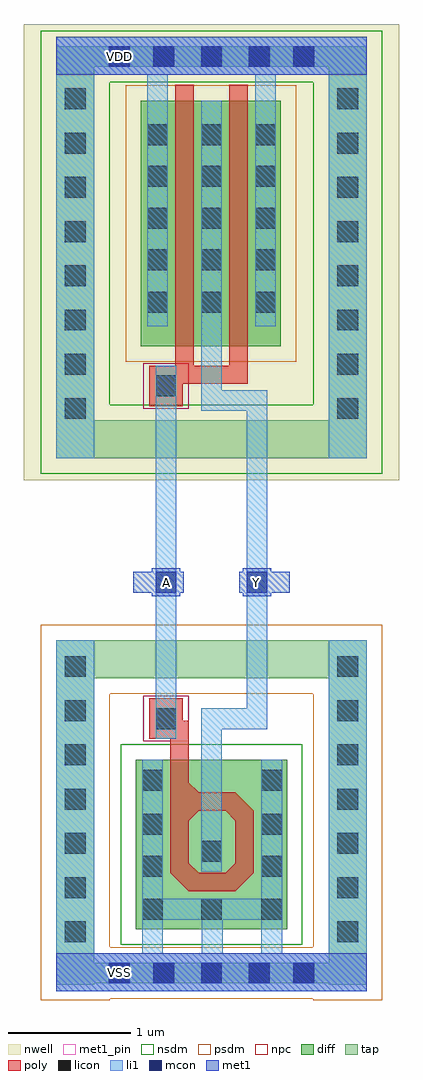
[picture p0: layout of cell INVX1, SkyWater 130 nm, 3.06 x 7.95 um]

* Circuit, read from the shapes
.subckt INVX1 A VDD VSS Y
XM1 VSS A Y VSS sky130_fd_pr__nfet_01v8 w=2.56 l=0.1489
XM2 Y A VDD VDD sky130_fd_pr__pfet_01v8 w=2 l=0.15 m=2
.ends

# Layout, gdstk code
import gdstk
lib = gdstk.Library(unit=1e-6, precision=1e-09)
def R(c, l, rs):  # rectangles x0, y0, x1, y1
    for r in rs: c.add(gdstk.rectangle(r[:2], r[2:], *l))
def A(c, l, x, y, w, h, nx, ny, dx, dy):  # array of equal rectangles
    R(c, l, [(x+i*dx, y+j*dy, x+i*dx+w, y+j*dy+h) for i in range(nx) for j in range(ny)])
def P(c, l, *ps):  # polygons
    for p in ps: c.add(gdstk.Polygon(p, *l))
nwell = (64, 20)
diff = (65, 20)
tap = (65, 44)
poly = (66, 20)
licon = (66, 44)
li1 = (67, 20)
mcon = (67, 44)
met1_pin = (68, 16)
met1 = (68, 20)
nsdm = (93, 44)
psdm = (94, 20)
npc = (95, 20)

invx1 = lib.new_cell('INVX1')
R(invx1, nwell, [(-0.42,4.16,2.64,7.875)])
R(invx1, diff, [(0.495,0.505,1.725,1.885), (0.535,5.25,1.675,7.25)])
R(invx1, tap, [(-0.155,0.055,0.155,0.065), (2.065,0.055,2.375,0.065), (-0.155,0.065,2.375,0.235), (-0.155,0.235,0.155,2.55), (2.065,0.235,2.375,2.55), (-0.155,2.55,2.375,2.86), (-0.155,4.34,2.375,4.65), (-0.155,4.65,0.155,7.525), (2.065,4.65,2.375,7.525), (-0.155,7.525,2.375,7.695)])
R(invx1, poly, [(0.925,0.815,1.305,0.965), (0.775,0.965,0.925,1.47), (1.305,0.965,1.455,1.47), (0.775,1.47,1.305,1.62), (0.775,1.62,0.925,2.055), (0.605,2.055,0.925,2.205), (0.605,2.205,0.875,2.385), (0.605,4.765,0.875,4.945), (0.605,4.945,1.405,5.095), (0.815,5.095,0.965,7.38), (1.255,5.095,1.405,7.38)])
P(invx1, poly, [(0.925,1.7),(0.925,1.62),(1.005,1.62)],
  [(1.305,1.62),(1.305,1.47),(1.455,1.47)],
  [(0.925,1.39),(0.925,1.47),(1.005,1.47)],
  [(1.225,1.47),(1.305,1.47),(1.305,1.39)],
  [(0.925,1.045),(0.925,0.965),(1.005,0.965)],
  [(1.225,0.965),(1.305,0.965),(1.305,1.045)],
  [(0.775,0.965),(0.925,0.965),(0.925,0.815)],
  [(1.305,0.815),(1.305,0.965),(1.455,0.965)])
A(invx1, licon, 0.635, 0.065, 0.17, 0.17, 3, 2, 0.39, 7.46)
A(invx1, licon, -0.085, 0.4, 0.17, 0.17, 1, 7, 0, 0.36)
A(invx1, licon, 2.135, 0.4, 0.17, 0.17, 1, 7, 0, 0.36)
A(invx1, licon, -0.085, 4.66, 0.17, 0.17, 1, 8, 0, 0.36)
A(invx1, licon, 2.135, 4.66, 0.17, 0.17, 1, 8, 0, 0.36)
A(invx1, licon, 0.585, 5.525, 0.17, 0.17, 3, 2, 0.44, 0.345)
A(invx1, licon, 0.585, 6.21, 0.17, 0.17, 3, 3, 0.44, 0.34)
R(invx1, licon, [(0.275,0.065,0.445,0.235), (1.775,0.065,1.945,0.235), (0.545,0.585,0.715,0.755), (1.025,0.585,1.195,0.755), (1.515,0.585,1.685,0.755), (0.545,0.935,0.715,1.105), (1.515,0.935,1.685,1.105), (1.025,1.055,1.195,1.225), (0.545,1.275,0.715,1.445), (1.515,1.275,1.685,1.445), (0.545,1.635,0.715,1.805), (1.515,1.635,1.685,1.805), (0.655,2.135,0.825,2.305), (0.655,4.845,0.825,5.015), (0.275,7.525,0.445,7.695), (1.775,7.525,1.945,7.695)])
A(invx1, li1, 0.545, 0.31, 0.17, 0.275, 3, 1, 0.485, 0)
R(invx1, li1, [(-0.155,0,2.375,0.31), (-0.155,0.31,0.155,2.86), (2.065,0.31,2.375,2.86), (0.545,0.585,1.685,0.755), (0.545,0.755,0.715,1.885), (1.515,0.755,1.685,1.885), (1.025,0.975,1.195,2.135), (0.655,2.055,0.825,5.095), (1.025,2.135,1.565,2.305), (1.395,2.305,1.565,4.725), (-0.155,4.34,0.155,7.46), (2.065,4.34,2.375,7.46), (1.025,4.725,1.565,4.895), (1.025,4.895,1.195,7.25), (0.585,5.415,0.755,7.46), (1.465,5.415,1.635,7.46), (-0.155,7.46,2.375,7.77)])
A(invx1, mcon, 0.635, 0.065, 0.17, 0.17, 3, 2, 0.39, 7.46)
R(invx1, mcon, [(0.275,0.065,0.445,0.235), (1.775,0.065,1.945,0.235), (0.655,3.245,0.825,3.415), (1.395,3.245,1.565,3.415), (0.275,7.525,0.445,7.695), (1.775,7.525,1.945,7.695)])
R(invx1, met1_pin, [(0.275,0.065,0.445,0.235), (0.655,3.245,0.825,3.415), (1.395,3.245,1.565,3.415), (0.275,7.525,0.445,7.695)])
R(invx1, met1, [(-0.155,0,2.375,0.31), (0.625,3.215,0.855,3.245), (1.365,3.215,1.595,3.245), (0.475,3.245,0.885,3.415), (1.335,3.245,1.745,3.415), (0.625,3.415,0.855,3.445), (1.365,3.415,1.595,3.445), (-0.155,7.46,2.375,7.77)])
R(invx1, nsdm, [(0.37,0.38,1.85,2.01), (-0.28,4.215,2.5,4.775), (-0.28,4.775,0.28,7.4), (1.94,4.775,2.5,7.4), (-0.28,7.4,2.5,7.82)])
R(invx1, psdm, [(-0.28,-0.07,0.28,-0.06), (1.94,-0.07,2.5,-0.06), (-0.28,-0.06,2.5,0.36), (-0.28,0.36,0.28,2.425), (1.94,0.36,2.5,2.425), (-0.28,2.425,2.5,2.985), (0.41,5.125,1.8,7.375)])
R(invx1, npc, [(0.555,2.035,0.925,2.405), (0.555,4.745,0.925,5.115)])
invx1.add(gdstk.Label('Y', (1.48,3.33), layer=68, texttype=16))
invx1.add(gdstk.Label('A', (0.74,3.33), layer=68, texttype=16))
invx1.add(gdstk.Label('VDD', (0.36,7.61), layer=68, texttype=16))
invx1.add(gdstk.Label('VSS', (0.36,0.15), layer=68, texttype=16))

lib.write_gds('INVX1.gds')
